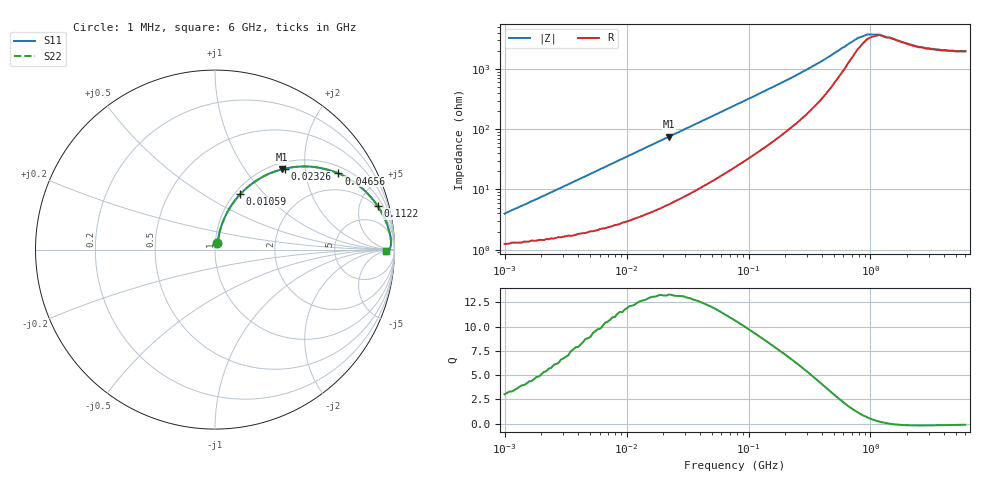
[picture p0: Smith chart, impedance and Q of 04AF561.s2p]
# MHz S MA R 50
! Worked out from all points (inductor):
!   189 points, 1 MHz to 6 GHz, reference 50 ohm
!   read as one part in series: L = 600 nH near 1 MHz
!   highest Q = 13.3 at 22.21 MHz (marker M1), where L = 538 nH
!   self-resonance near 1.415 GHz
!   S11 on the Smith chart (normalised r, x): 1 MHz: 1.02, +0.07; 10.59 MHz: 1.06, +0.74; 23.26 MHz: 1.12, +1.57; 46.56 MHz: 1.25, +3.06; 112.2 MHz: 1.76, +7.14; 6 GHz: 40, -5
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1  0.039 69.5  0.987 -2.1  0.987 -2.1  0.039 69.5
2.196  0.081 75.0  0.982 -4.6  0.982 -4.6  0.081 75.0
4.396  0.154 74.4  0.97 -8.8  0.97 -8.8  0.154 74.4
6.983  0.235 71.0  0.95 -13.6  0.95 -13.6  0.235 71.0
10.591  0.338 65.6  0.914 -19.7  0.914 -19.7  0.338 65.6
18.454  0.516 54.7  0.819 -30.9  0.819 -30.9  0.516 54.7
22.206  0.581 50.3  0.772 -35.4  0.772 -35.4  0.581 50.3
23.258  0.597 49.2  0.759 -36.5  0.759 -36.5  0.597 49.2
32.154  0.705 40.9  0.657 -44.7  0.657 -44.7  0.705 40.9
46.56  0.808 31.7  0.527 -53.6  0.527 -53.6  0.808 31.7
77.46  0.9 21.0  0.359 -63.7  0.359 -63.7  0.9 21.0
112.163  0.938 15.1  0.261 -68.8  0.261 -68.8  0.938 15.1
178.161  0.964 9.7  0.17 -72.8  0.17 -72.8  0.964 9.7
340.538  0.979 4.9  0.086 -73.4  0.086 -73.4  0.979 4.9
470.805  0.981 3.2  0.059 -69.9  0.059 -69.9  0.981 3.2
783.255  0.98 1.3  0.03 -48.1  0.03 -48.1  0.98 1.3
942.517  0.978 0.8  0.026 -31.8  0.026 -31.8  0.978 0.8
1187.879  0.974 0.3  0.026 -10.9  0.026 -10.9  0.974 0.3
1429.415  0.971 -0.0  0.029 0.5  0.029 0.5  0.971 -0.0
2490.674  0.96 -0.4  0.041 10.4  0.041 10.4  0.96 -0.4
3777.337  0.955 -0.4  0.046 9.0  0.046 9.0  0.955 -0.4
6000  0.952 -0.3  0.048 6.3  0.048 6.3  0.952 -0.3
